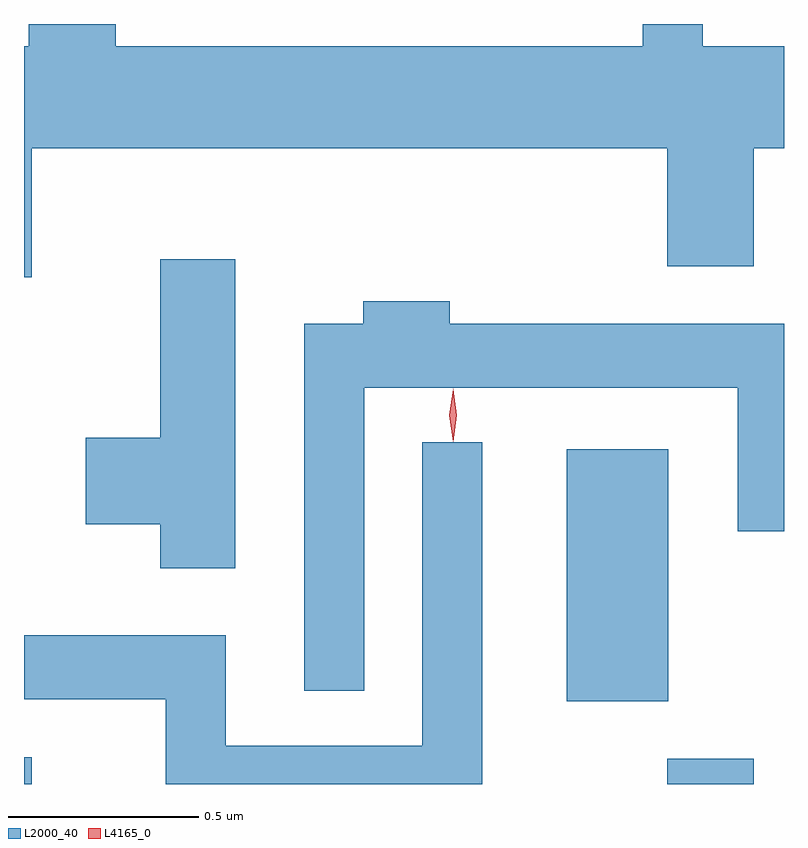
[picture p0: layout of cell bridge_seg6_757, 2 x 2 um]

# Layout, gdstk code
import gdstk
lib = gdstk.Library(unit=1e-6, precision=1e-09)
def R(c, l, rs):  # rectangles x0, y0, x1, y1
    for r in rs: c.add(gdstk.rectangle(r[:2], r[2:], *l))
def P(c, l, *ps):  # polygons
    for p in ps: c.add(gdstk.Polygon(p, *l))
L2000_40 = (2000, 40)
L4165_0 = (4165, 0)

bridge_seg6_757 = lib.new_cell('bridge_seg6_757')
R(bridge_seg6_757, L2000_40, [(500.948,1537.263,500.969,1537.334), (502.641,1537.263,502.869,1537.329), (502.376,1537.481,502.644,1538.144)])
P(bridge_seg6_757, L2000_40, [(500.969,1538.936),(502.641,1538.936),(502.641,1538.626),(502.869,1538.626),(502.869,1538.936),(502.948,1538.936),(502.948,1539.204),(502.734,1539.204),(502.734,1539.263),(502.576,1539.263),(502.576,1539.204),(501.189,1539.204),(501.189,1539.263),(500.961,1539.263),(500.961,1539.204),(500.948,1539.204),(500.948,1538.596),(500.969,1538.596)],
  [(501.504,1538.644),(501.306,1538.644),(501.306,1538.174),(501.111,1538.174),(501.111,1537.946),(501.306,1537.946),(501.306,1537.831),(501.504,1537.831)],
  [(501.844,1538.306),(502.826,1538.306),(502.826,1537.928),(502.948,1537.928),(502.948,1538.474),(502.069,1538.474),(502.069,1538.534),(501.841,1538.534),(501.841,1538.474),(501.686,1538.474),(501.686,1537.508),(501.844,1537.508)],
  [(502.154,1538.163),(501.996,1538.163),(501.996,1537.364),(501.479,1537.364),(501.479,1537.654),(500.948,1537.654),(500.948,1537.486),(501.321,1537.486),(501.321,1537.263),(502.154,1537.263)])
P(bridge_seg6_757, L4165_0, [(502.077,1538.164),(502.077,1538.164),(502.067,1538.233),(502.077,1538.302),(502.077,1538.303),(502.078,1538.302),(502.087,1538.233),(502.078,1538.164)],
  [(502.077,1538.167),(502.077,1538.167),(502.067,1538.234),(502.077,1538.3),(502.077,1538.301),(502.078,1538.3),(502.087,1538.234),(502.078,1538.167)])

lib.write_gds('bridge_seg6_757.gds')
